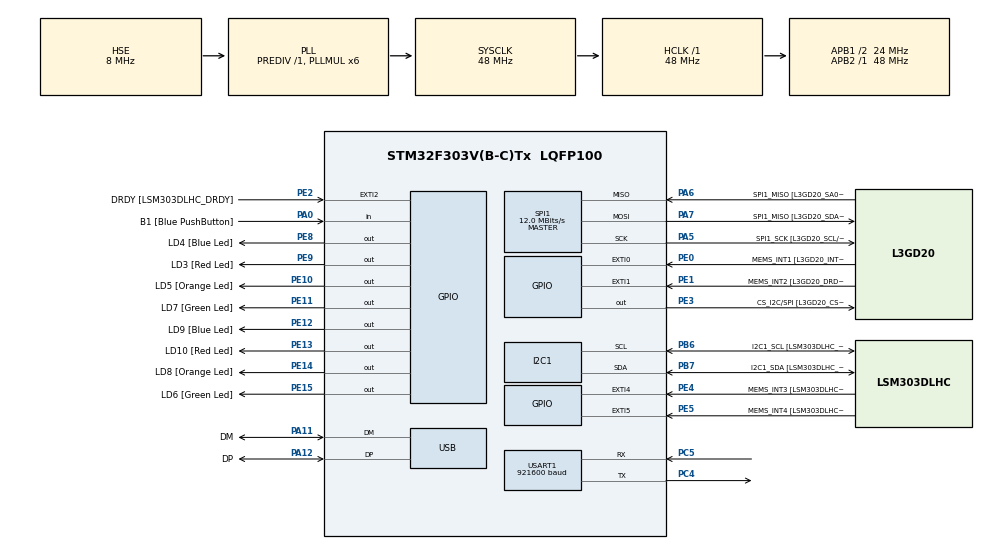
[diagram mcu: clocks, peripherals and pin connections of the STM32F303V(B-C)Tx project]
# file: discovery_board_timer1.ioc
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I2C1.Timing=0x00201D2B
I2C1.Timing-I2C=0x2000090E
Mcu.Family=STM32F3
Mcu.Name=STM32F303V(B-C)Tx
Mcu.Package=LQFP100
NVIC.PriorityGroup=NVIC_PRIORITYGROUP_0
NVIC.TIM4_IRQn=true\:0\:0\:false\:false\:true\:true\:true\:true
PA0.GPIO_Label=B1 [Blue PushButton]
PA0.Signal=GPIO_Input
PA11.GPIO_Label=DM
PA11.Mode=Device
PA11.Signal=USB_DM
PA12.GPIO_Label=DP
PA12.Mode=Device
PA12.Signal=USB_DP
PA13.GPIO_Label=SWDIO
PA13.Mode=Serial_Wire
PA13.Signal=SYS_JTMS-SWDIO
PA14.GPIO_Label=SWCLK
PA14.Mode=Serial_Wire
PA14.Signal=SYS_JTCK-SWCLK
PA5.GPIO_Label=SPI1_SCK [L3GD20_SCL/SPC]
PA5.Mode=Full_Duplex_Master
PA5.Signal=SPI1_SCK
PA6.GPIO_Label=SPI1_MISO [L3GD20_SA0/SDO]
PA6.Mode=Full_Duplex_Master
PA6.Signal=SPI1_MISO
PA7.GPIO_Label=SPI1_MISO [L3GD20_SDA/SDI/SDO]
PA7.Mode=Full_Duplex_Master
PA7.Signal=SPI1_MOSI
PB3.GPIO_Label=SWO
PB3.Signal=SYS_JTDO-TRACESWO
PB6.GPIO_Label=I2C1_SCL [LSM303DLHC_SCL]
PB6.GPIO_Pu=GPIO_PULLUP
PB6.Mode=I2C
PB6.Signal=I2C1_SCL
PB7.GPIO_Label=I2C1_SDA [LSM303DLHC_SDA]
PB7.GPIO_Pu=GPIO_PULLUP
PB7.Mode=I2C
PB7.Signal=I2C1_SDA
PC14-OSC32_IN.GPIO_Label=OSC32_IN
PC14-OSC32_IN.Signal=RCC_OSC32_IN
PC15-OSC32_OUT.GPIO_Label=OSC32_OUT
PC15-OSC32_OUT.Signal=RCC_OSC32_OUT
PC4.Mode=Asynchronous
PC4.Signal=USART1_TX
PC5.Mode=Asynchronous
PC5.Signal=USART1_RX
PE0.GPIO_Label=MEMS_INT1 [L3GD20_INT1]
PE0.GPIO_ModeDefaultEXTI=GPIO_MODE_EVT_RISING
PE0.Signal=GPXTI0
PE1.GPIO_Label=MEMS_INT2 [L3GD20_DRDY/INT2]
PE1.GPIO_ModeDefaultEXTI=GPIO_MODE_EVT_RISING
PE1.Signal=GPXTI1
PE10.GPIO_Label=LD5 [Orange Led]
PE10.Signal=GPIO_Output
PE11.GPIO_Label=LD7 [Green Led]
PE11.Signal=GPIO_Output
PE12.GPIO_Label=LD9 [Blue Led]
PE12.Signal=GPIO_Output
PE13.GPIO_Label=LD10 [Red Led]
PE13.Signal=GPIO_Output
PE14.GPIO_Label=LD8 [Orange Led]
PE14.Signal=GPIO_Output
PE15.GPIO_Label=LD6 [Green Led]
PE15.Signal=GPIO_Output
PE2.GPIO_Label=DRDY [LSM303DLHC_DRDY]
PE2.GPIO_ModeDefaultEXTI=GPIO_MODE_EVT_RISING
PE2.Signal=GPXTI2
PE3.GPIO_Label=CS_I2C/SPI [L3GD20_CS_I2C/SPI]
PE3.Signal=GPIO_Output
PE4.GPIO_Label=MEMS_INT3 [LSM303DLHC_INT1]
PE4.GPIO_ModeDefaultEXTI=GPIO_MODE_EVT_RISING
PE4.Signal=GPXTI4
PE5.GPIO_Label=MEMS_INT4 [LSM303DLHC_INT2]
PE5.GPIO_ModeDefaultEXTI=GPIO_MODE_EVT_RISING
PE5.Signal=GPXTI5
PE8.GPIO_Label=LD4 [Blue Led]
PE8.Signal=GPIO_Output
PE9.GPIO_Label=LD3 [Red Led]
PE9.Signal=GPIO_Output
PF0-OSC_IN.GPIO_Label=OSC_IN
PF0-OSC_IN.Mode=HSE-External-Clock-Source
PF0-OSC_IN.Signal=RCC_OSC_IN
PF1-OSC_OUT.GPIO_Label=OSC_OUT
PF1-OSC_OUT.Signal=RCC_OSC_OUT
ProjectManager.HeapSize=0x200
ProjectManager.StackSize=0x400
ProjectManager.TargetToolchain=STM32CubeIDE
RCC.AHBFreq_Value=48000000
RCC.APB1CLKDivider=RCC_HCLK_DIV2
RCC.APB1Freq_Value=24000000
RCC.APB1TimFreq_Value=48000000
RCC.APB2Freq_Value=48000000
RCC.APB2TimFreq_Value=48000000
RCC.CortexFreq_Value=48000000
RCC.HCLKFreq_Value=48000000
RCC.HSE_VALUE=8000000
RCC.HSI_VALUE=8000000
RCC.LSE_VALUE=32768
RCC.PLLMUL=RCC_PLL_MUL6
RCC.SYSCLKFreq_VALUE=48000000
RCC.SYSCLKSourceVirtual=RCC_SYSCLKSOURCE_PLLCLK
RCC.USBFreq_Value=48000000
SPI1.BaudRatePrescaler=SPI_BAUDRATEPRESCALER_4
SPI1.BaudRatePrescaler-Full_Duplex_Master=SPI_BAUDRATEPRESCALER_2
SPI1.CalculateBaudRate=12.0 MBits/s
SPI1.CalculateBaudRate-Full_Duplex_Master=24.0 MBits/s
SPI1.Direction=SPI_DIRECTION_2LINES
SPI1.Mode=SPI_MODE_MASTER
SPI1.Mode-Full_Duplex_Master=SPI_MODE_MASTER
SPI1.VirtualType=VM_MASTER
TIM4.Period=2399
TIM4.Prescaler=9999
USART1.BaudRate=921600
USART1.VirtualMode-Asynchronous=VM_ASYNC
VP_TIM4_VS_ClockSourceINT.Mode=Internal
board=STM32F3DISCOVERY

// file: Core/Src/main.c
/* USER CODE BEGIN Header */
/**
  ******************************************************************************
  * @file           : main.c
  * @brief          : Main program body
  ******************************************************************************
  * @attention
  *
  * Copyright (c) 2025 STMicroelectronics.
  * All rights reserved.
  *
  * This software is licensed under terms that can be found in the LICENSE file
  * in the root directory of this software component.
  * If no LICENSE file comes with this software, it is provided AS-IS.
  *
  ******************************************************************************
  */
/* USER CODE END Header */
#include "main.h"

/* USER CODE BEGIN Includes */
#include <stdio.h>
/* USER CODE END Includes */

I2C_HandleTypeDef hi2c1;

SPI_HandleTypeDef hspi1;

TIM_HandleTypeDef htim4;

UART_HandleTypeDef huart1;

PCD_HandleTypeDef hpcd_USB_FS;

/* USER CODE BEGIN PV */

uint16_t TICK_DELAY = 1000;

/* USER CODE END PV */

void SystemClock_Config(void);
static void MX_GPIO_Init(void);
static void MX_I2C1_Init(void);
static void MX_SPI1_Init(void);
static void MX_USB_PCD_Init(void);
static void MX_TIM4_Init(void);
static void MX_USART1_UART_Init(void);

/* USER CODE BEGIN 0 */
int _write(int fd, char* ptr, int len) {
  HAL_StatusTypeDef hstatus;

  if (fd == 1 || fd == 2) {
    hstatus = HAL_UART_Transmit(&huart1, (uint8_t *) ptr, len, HAL_MAX_DELAY);
    if (hstatus == HAL_OK)
      return len;
    else
      return -1;
  }
  return -1;
}

void HAL_TIM_PeriodElapsedCallback(TIM_HandleTypeDef *htim) {
	HAL_GPIO_TogglePin(GPIOE, GPIO_PIN_12);

}

/* USER CODE END 0 */

int main(void)
{

  /* MCU Configuration--------------------------------------------------------*/

  /* Reset of all peripherals, Initializes the Flash interface and the Systick. */
  HAL_Init();

  /* Configure the system clock */
  SystemClock_Config();

  /* Initialize all configured peripherals */
  MX_GPIO_Init();
  MX_I2C1_Init();
  MX_SPI1_Init();
  MX_USB_PCD_Init();
  MX_TIM4_Init();
  MX_USART1_UART_Init();
  /* USER CODE BEGIN 2 */

  printf("Timer1 starting\n");

  HAL_TIM_Base_Start_IT(&htim4);

  /* USER CODE END 2 */

  /* Infinite loop */
  /* USER CODE BEGIN WHILE */

  uint32_t now = 0, next_tick = TICK_DELAY;

  while (1)
  {
	  now = HAL_GetTick();

	  if ( now >= next_tick) {

		  printf("Tick %lu\n", now / 1000);

		  next_tick = now + TICK_DELAY;
	  }
    /* USER CODE END WHILE */

  }
}

void SystemClock_Config(void)
{
  RCC_OscInitTypeDef RCC_OscInitStruct = {0};
  RCC_ClkInitTypeDef RCC_ClkInitStruct = {0};
  RCC_PeriphCLKInitTypeDef PeriphClkInit = {0};

  /** Initializes the RCC Oscillators according to the specified parameters
  * in the RCC_OscInitTypeDef structure.
  */
  RCC_OscInitStruct.OscillatorType = RCC_OSCILLATORTYPE_HSI|RCC_OSCILLATORTYPE_HSE;
  RCC_OscInitStruct.HSEState = RCC_HSE_BYPASS;
  RCC_OscInitStruct.HSEPredivValue = RCC_HSE_PREDIV_DIV1;
  RCC_OscInitStruct.HSIState = RCC_HSI_ON;
  RCC_OscInitStruct.HSICalibrationValue = RCC_HSICALIBRATION_DEFAULT;
  RCC_OscInitStruct.PLL.PLLState = RCC_PLL_ON;
  RCC_OscInitStruct.PLL.PLLSource = RCC_PLLSOURCE_HSE;
  RCC_OscInitStruct.PLL.PLLMUL = RCC_PLL_MUL6;
  if (HAL_RCC_OscConfig(&RCC_OscInitStruct) != HAL_OK)
  {
    Error_Handler();
  }

  /** Initializes the CPU, AHB and APB buses clocks
  */
  RCC_ClkInitStruct.ClockType = RCC_CLOCKTYPE_HCLK|RCC_CLOCKTYPE_SYSCLK
                              |RCC_CLOCKTYPE_PCLK1|RCC_CLOCKTYPE_PCLK2;
  RCC_ClkInitStruct.SYSCLKSource = RCC_SYSCLKSOURCE_PLLCLK;
  RCC_ClkInitStruct.AHBCLKDivider = RCC_SYSCLK_DIV1;
  RCC_ClkInitStruct.APB1CLKDivider = RCC_HCLK_DIV2;
  RCC_ClkInitStruct.APB2CLKDivider = RCC_HCLK_DIV1;

  if (HAL_RCC_ClockConfig(&RCC_ClkInitStruct, FLASH_LATENCY_1) != HAL_OK)
  {
    Error_Handler();
  }
  PeriphClkInit.PeriphClockSelection = RCC_PERIPHCLK_USB|RCC_PERIPHCLK_USART1
                              |RCC_PERIPHCLK_I2C1;
  PeriphClkInit.Usart1ClockSelection = RCC_USART1CLKSOURCE_PCLK2;
  PeriphClkInit.I2c1ClockSelection = RCC_I2C1CLKSOURCE_HSI;
  PeriphClkInit.USBClockSelection = RCC_USBCLKSOURCE_PLL;
  if (HAL_RCCEx_PeriphCLKConfig(&PeriphClkInit) != HAL_OK)
  {
    Error_Handler();
  }
}

static void MX_I2C1_Init(void)
{

  hi2c1.Instance = I2C1;
  hi2c1.Init.Timing = 0x00201D2B;
  hi2c1.Init.OwnAddress1 = 0;
  hi2c1.Init.AddressingMode = I2C_ADDRESSINGMODE_7BIT;
  hi2c1.Init.DualAddressMode = I2C_DUALADDRESS_DISABLE;
  hi2c1.Init.OwnAddress2 = 0;
  hi2c1.Init.OwnAddress2Masks = I2C_OA2_NOMASK;
  hi2c1.Init.GeneralCallMode = I2C_GENERALCALL_DISABLE;
  hi2c1.Init.NoStretchMode = I2C_NOSTRETCH_DISABLE;
  if (HAL_I2C_Init(&hi2c1) != HAL_OK)
  {
    Error_Handler();
  }

  /** Configure Analogue filter
  */
  if (HAL_I2CEx_ConfigAnalogFilter(&hi2c1, I2C_ANALOGFILTER_ENABLE) != HAL_OK)
  {
    Error_Handler();
  }

  /** Configure Digital filter
  */
  if (HAL_I2CEx_ConfigDigitalFilter(&hi2c1, 0) != HAL_OK)
  {
    Error_Handler();
  }

}

static void MX_SPI1_Init(void)
{

  /* SPI1 parameter configuration*/
  hspi1.Instance = SPI1;
  hspi1.Init.Mode = SPI_MODE_MASTER;
  hspi1.Init.Direction = SPI_DIRECTION_2LINES;
  hspi1.Init.DataSize = SPI_DATASIZE_4BIT;
  hspi1.Init.CLKPolarity = SPI_POLARITY_LOW;
  hspi1.Init.CLKPhase = SPI_PHASE_1EDGE;
  hspi1.Init.NSS = SPI_NSS_SOFT;
  hspi1.Init.BaudRatePrescaler = SPI_BAUDRATEPRESCALER_4;
  hspi1.Init.FirstBit = SPI_FIRSTBIT_MSB;
  hspi1.Init.TIMode = SPI_TIMODE_DISABLE;
  hspi1.Init.CRCCalculation = SPI_CRCCALCULATION_DISABLE;
  hspi1.Init.CRCPolynomial = 7;
  hspi1.Init.CRCLength = SPI_CRC_LENGTH_DATASIZE;
  hspi1.Init.NSSPMode = SPI_NSS_PULSE_ENABLE;
  if (HAL_SPI_Init(&hspi1) != HAL_OK)
  {
    Error_Handler();
  }

}

static void MX_TIM4_Init(void)
{

  TIM_ClockConfigTypeDef sClockSourceConfig = {0};
  TIM_MasterConfigTypeDef sMasterConfig = {0};

  htim4.Instance = TIM4;
  htim4.Init.Prescaler = 9999;
  htim4.Init.CounterMode = TIM_COUNTERMODE_UP;
  htim4.Init.Period = 2399;
  htim4.Init.ClockDivision = TIM_CLOCKDIVISION_DIV1;
  htim4.Init.AutoReloadPreload = TIM_AUTORELOAD_PRELOAD_DISABLE;
  if (HAL_TIM_Base_Init(&htim4) != HAL_OK)
  {
    Error_Handler();
  }
  sClockSourceConfig.ClockSource = TIM_CLOCKSOURCE_INTERNAL;
  if (HAL_TIM_ConfigClockSource(&htim4, &sClockSourceConfig) != HAL_OK)
  {
    Error_Handler();
  }
  sMasterConfig.MasterOutputTrigger = TIM_TRGO_RESET;
  sMasterConfig.MasterSlaveMode = TIM_MASTERSLAVEMODE_DISABLE;
  if (HAL_TIMEx_MasterConfigSynchronization(&htim4, &sMasterConfig) != HAL_OK)
  {
    Error_Handler();
  }

}

static void MX_USART1_UART_Init(void)
{

  huart1.Instance = USART1;
  huart1.Init.BaudRate = 921600;
  huart1.Init.WordLength = UART_WORDLENGTH_8B;
  huart1.Init.StopBits = UART_STOPBITS_1;
  huart1.Init.Parity = UART_PARITY_NONE;
  huart1.Init.Mode = UART_MODE_TX_RX;
  huart1.Init.HwFlowCtl = UART_HWCONTROL_NONE;
  huart1.Init.OverSampling = UART_OVERSAMPLING_16;
  huart1.Init.OneBitSampling = UART_ONE_BIT_SAMPLE_DISABLE;
  huart1.AdvancedInit.AdvFeatureInit = UART_ADVFEATURE_NO_INIT;
  if (HAL_UART_Init(&huart1) != HAL_OK)
  {
    Error_Handler();
  }

}

static void MX_USB_PCD_Init(void)
{

  hpcd_USB_FS.Instance = USB;
  hpcd_USB_FS.Init.dev_endpoints = 8;
  hpcd_USB_FS.Init.speed = PCD_SPEED_FULL;
  hpcd_USB_FS.Init.phy_itface = PCD_PHY_EMBEDDED;
  hpcd_USB_FS.Init.low_power_enable = DISABLE;
  hpcd_USB_FS.Init.battery_charging_enable = DISABLE;
  if (HAL_PCD_Init(&hpcd_USB_FS) != HAL_OK)
  {
    Error_Handler();
  }

}

static void MX_GPIO_Init(void)
{
  GPIO_InitTypeDef GPIO_InitStruct = {0};

  /* GPIO Ports Clock Enable */
  __HAL_RCC_GPIOE_CLK_ENABLE();
  __HAL_RCC_GPIOC_CLK_ENABLE();
  __HAL_RCC_GPIOF_CLK_ENABLE();
  __HAL_RCC_GPIOA_CLK_ENABLE();
  __HAL_RCC_GPIOB_CLK_ENABLE();

  /*Configure GPIO pin Output Level */
  HAL_GPIO_WritePin(GPIOE, CS_I2C_SPI_Pin|LD4_Pin|LD3_Pin|LD5_Pin
                          |LD7_Pin|LD9_Pin|LD10_Pin|LD8_Pin
                          |LD6_Pin, GPIO_PIN_RESET);

  /*Configure GPIO pins : DRDY_Pin MEMS_INT3_Pin MEMS_INT4_Pin MEMS_INT1_Pin
                           MEMS_INT2_Pin */
  GPIO_InitStruct.Pin = DRDY_Pin|MEMS_INT3_Pin|MEMS_INT4_Pin|MEMS_INT1_Pin
                          |MEMS_INT2_Pin;
  GPIO_InitStruct.Mode = GPIO_MODE_EVT_RISING;
  GPIO_InitStruct.Pull = GPIO_NOPULL;
  HAL_GPIO_Init(GPIOE, &GPIO_InitStruct);

  /*Configure GPIO pins : CS_I2C_SPI_Pin LD4_Pin LD3_Pin LD5_Pin
                           LD7_Pin LD9_Pin LD10_Pin LD8_Pin
                           LD6_Pin */
  GPIO_InitStruct.Pin = CS_I2C_SPI_Pin|LD4_Pin|LD3_Pin|LD5_Pin
                          |LD7_Pin|LD9_Pin|LD10_Pin|LD8_Pin
                          |LD6_Pin;
  GPIO_InitStruct.Mode = GPIO_MODE_OUTPUT_PP;
  GPIO_InitStruct.Pull = GPIO_NOPULL;
  GPIO_InitStruct.Speed = GPIO_SPEED_FREQ_LOW;
  HAL_GPIO_Init(GPIOE, &GPIO_InitStruct);

  /*Configure GPIO pin : B1_Pin */
  GPIO_InitStruct.Pin = B1_Pin;
  GPIO_InitStruct.Mode = GPIO_MODE_INPUT;
  GPIO_InitStruct.Pull = GPIO_NOPULL;
  HAL_GPIO_Init(B1_GPIO_Port, &GPIO_InitStruct);

}

void Error_Handler(void)
{
  __disable_irq();
  while (1)
  {
  }
}
